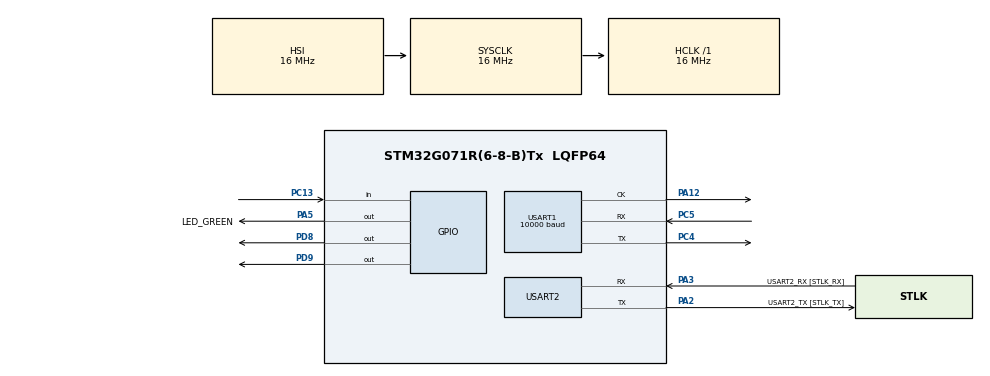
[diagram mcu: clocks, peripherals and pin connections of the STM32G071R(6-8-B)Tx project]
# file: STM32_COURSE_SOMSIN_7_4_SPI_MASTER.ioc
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Mcu.Family=STM32G0
Mcu.Name=STM32G071R(6-8-B)Tx
Mcu.Package=LQFP64
PA12\ [PA10].Mode=Synchronous
PA12\ [PA10].Signal=USART1_CK
PA13.GPIO_Label=TMS
PA13.Mode=Serial_Wire
PA13.Signal=SYS_SWDIO
PA14-BOOT0.GPIO_Label=TCK
PA14-BOOT0.Mode=Serial_Wire
PA14-BOOT0.Signal=SYS_SWCLK
PA2.GPIO_Label=USART2_TX [STLK_TX]
PA2.GPIO_PuPd=GPIO_PULLUP
PA2.Mode=Asynchronous
PA2.Signal=USART2_TX
PA3.GPIO_Label=USART2_RX [STLK_RX]
PA3.GPIO_PuPd=GPIO_PULLUP
PA3.Mode=Asynchronous
PA3.Signal=USART2_RX
PA5.GPIO_Label=LED_GREEN
PA5.GPIO_Speed=GPIO_SPEED_FREQ_HIGH
PA5.Signal=GPIO_Output
PC13.Signal=GPIO_Input
PC14-OSC32_IN\ (PC14).Mode=LSE-External-Oscillator
PC14-OSC32_IN\ (PC14).Signal=RCC_OSC32_IN
PC15-OSC32_OUT\ (PC15).Mode=LSE-External-Oscillator
PC15-OSC32_OUT\ (PC15).Signal=RCC_OSC32_OUT
PC4.Mode=Synchronous
PC4.Signal=USART1_TX
PC5.Mode=Synchronous
PC5.Signal=USART1_RX
PD8.Signal=GPIO_Output
PD9.Signal=GPIO_Output
PF0-OSC_IN\ (PF0).GPIO_Label=MCO
PF0-OSC_IN\ (PF0).Mode=HSE-External-Clock-Source
PF0-OSC_IN\ (PF0).Signal=RCC_OSC_IN
ProjectManager.HeapSize=0x200
ProjectManager.StackSize=0x400
ProjectManager.TargetToolchain=STM32CubeIDE
RCC.AHBFreq_Value=16000000
RCC.CortexFreq_Value=16000000
RCC.EXTERNAL_CLOCK_VALUE=12288000
RCC.HCLKFreq_Value=16000000
RCC.HSE_VALUE=8000000
RCC.HSI_VALUE=16000000
RCC.SYSCLKFreq_VALUE=16000000
RCC.VCOOutputFreq_Value=128000000
USART1.BaudRate=10000
USART1.CLKLastBit=USART_LASTBIT_ENABLE
USART1.VirtualMode-Synchronous=VM_SYNC
USART2.VirtualMode-Asynchronous=VM_ASYNC
VP_SYS_VS_DBSignals.Mode=DisableDeadBatterySignals
board=NUCLEO-G071RB

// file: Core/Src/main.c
/* USER CODE BEGIN Header */
/**
  ******************************************************************************
  * @file           : main.c
  * @brief          : Main program body
  ******************************************************************************
  * @attention
  *
  * Copyright (c) 2024 STMicroelectronics.
  * All rights reserved.
  *
  * This software is licensed under terms that can be found in the LICENSE file
  * in the root directory of this software component.
  * If no LICENSE file comes with this software, it is provided AS-IS.
  *
  ******************************************************************************
  */
/* USER CODE END Header */
#include "main.h"

USART_HandleTypeDef husart1;
UART_HandleTypeDef huart2;

void SystemClock_Config(void);
static void MX_GPIO_Init(void);
static void MX_USART2_UART_Init(void);
static void MX_USART1_Init(void);

int main(void)
{

  /* MCU Configuration--------------------------------------------------------*/

  /* Reset of all peripherals, Initializes the Flash interface and the Systick. */
  HAL_Init();

  /* Configure the system clock */
  SystemClock_Config();

  /* Initialize all configured peripherals */
  MX_GPIO_Init();
  MX_USART2_UART_Init();
  MX_USART1_Init();
  /* USER CODE BEGIN 2 */
  unsigned char data[10] = "A";
  HAL_GPIO_WritePin(GPIOD, GPIO_PIN_8, 0);
  HAL_GPIO_WritePin(GPIOD, GPIO_PIN_9, 0);
  /* USER CODE END 2 */

  /* Infinite loop */
  while (1)
  {

    /* USER CODE BEGIN 3 */
	  if(HAL_GPIO_ReadPin(GPIOC, GPIO_PIN_13) == 0){
		  HAL_GPIO_WritePin(LED_GREEN_GPIO_Port, LED_GREEN_Pin, 0);
		  HAL_GPIO_WritePin(GPIOD, GPIO_PIN_8, 1);
		  HAL_USART_Transmit(&husart1, data, 1, 1000);
		  HAL_GPIO_WritePin(GPIOD, GPIO_PIN_8, 0);
	  }
	  else{
		  HAL_GPIO_WritePin(LED_GREEN_GPIO_Port, LED_GREEN_Pin, 1);
		  HAL_GPIO_WritePin(GPIOD, GPIO_PIN_9, 1);
		  HAL_USART_Transmit(&husart1, data, 1, 1000);
		  HAL_GPIO_WritePin(GPIOD, GPIO_PIN_9, 0);
	  }
	  HAL_Delay(500);
	  data[0]++;
	  if(data[0] > 'Z'){
		  data[0] = 'A';
	  }
  }
  /* USER CODE END 3 */
}

void SystemClock_Config(void)
{
  RCC_OscInitTypeDef RCC_OscInitStruct = {0};
  RCC_ClkInitTypeDef RCC_ClkInitStruct = {0};

  /** Configure the main internal regulator output voltage
  */
  HAL_PWREx_ControlVoltageScaling(PWR_REGULATOR_VOLTAGE_SCALE1);

  /** Initializes the RCC Oscillators according to the specified parameters
  * in the RCC_OscInitTypeDef structure.
  */
  RCC_OscInitStruct.OscillatorType = RCC_OSCILLATORTYPE_HSI;
  RCC_OscInitStruct.HSIState = RCC_HSI_ON;
  RCC_OscInitStruct.HSIDiv = RCC_HSI_DIV1;
  RCC_OscInitStruct.HSICalibrationValue = RCC_HSICALIBRATION_DEFAULT;
  RCC_OscInitStruct.PLL.PLLState = RCC_PLL_NONE;
  if (HAL_RCC_OscConfig(&RCC_OscInitStruct) != HAL_OK)
  {
    Error_Handler();
  }

  /** Initializes the CPU, AHB and APB buses clocks
  */
  RCC_ClkInitStruct.ClockType = RCC_CLOCKTYPE_HCLK|RCC_CLOCKTYPE_SYSCLK
                              |RCC_CLOCKTYPE_PCLK1;
  RCC_ClkInitStruct.SYSCLKSource = RCC_SYSCLKSOURCE_HSI;
  RCC_ClkInitStruct.AHBCLKDivider = RCC_SYSCLK_DIV1;
  RCC_ClkInitStruct.APB1CLKDivider = RCC_HCLK_DIV1;

  if (HAL_RCC_ClockConfig(&RCC_ClkInitStruct, FLASH_LATENCY_0) != HAL_OK)
  {
    Error_Handler();
  }
}

static void MX_USART1_Init(void)
{

  husart1.Instance = USART1;
  husart1.Init.BaudRate = 10000;
  husart1.Init.WordLength = USART_WORDLENGTH_8B;
  husart1.Init.StopBits = USART_STOPBITS_1;
  husart1.Init.Parity = USART_PARITY_NONE;
  husart1.Init.Mode = USART_MODE_TX_RX;
  husart1.Init.CLKPolarity = USART_POLARITY_LOW;
  husart1.Init.CLKPhase = USART_PHASE_1EDGE;
  husart1.Init.CLKLastBit = USART_LASTBIT_ENABLE;
  husart1.Init.ClockPrescaler = USART_PRESCALER_DIV1;
  husart1.SlaveMode = USART_SLAVEMODE_DISABLE;
  if (HAL_USART_Init(&husart1) != HAL_OK)
  {
    Error_Handler();
  }
  if (HAL_USARTEx_SetTxFifoThreshold(&husart1, USART_TXFIFO_THRESHOLD_1_8) != HAL_OK)
  {
    Error_Handler();
  }
  if (HAL_USARTEx_SetRxFifoThreshold(&husart1, USART_RXFIFO_THRESHOLD_1_8) != HAL_OK)
  {
    Error_Handler();
  }
  if (HAL_USARTEx_DisableFifoMode(&husart1) != HAL_OK)
  {
    Error_Handler();
  }

}

static void MX_USART2_UART_Init(void)
{

  huart2.Instance = USART2;
  huart2.Init.BaudRate = 115200;
  huart2.Init.WordLength = UART_WORDLENGTH_8B;
  huart2.Init.StopBits = UART_STOPBITS_1;
  huart2.Init.Parity = UART_PARITY_NONE;
  huart2.Init.Mode = UART_MODE_TX_RX;
  huart2.Init.HwFlowCtl = UART_HWCONTROL_NONE;
  huart2.Init.OverSampling = UART_OVERSAMPLING_16;
  huart2.Init.OneBitSampling = UART_ONE_BIT_SAMPLE_DISABLE;
  huart2.Init.ClockPrescaler = UART_PRESCALER_DIV1;
  huart2.AdvancedInit.AdvFeatureInit = UART_ADVFEATURE_NO_INIT;
  if (HAL_UART_Init(&huart2) != HAL_OK)
  {
    Error_Handler();
  }
  if (HAL_UARTEx_SetTxFifoThreshold(&huart2, UART_TXFIFO_THRESHOLD_1_8) != HAL_OK)
  {
    Error_Handler();
  }
  if (HAL_UARTEx_SetRxFifoThreshold(&huart2, UART_RXFIFO_THRESHOLD_1_8) != HAL_OK)
  {
    Error_Handler();
  }
  if (HAL_UARTEx_DisableFifoMode(&huart2) != HAL_OK)
  {
    Error_Handler();
  }

}

static void MX_GPIO_Init(void)
{
  GPIO_InitTypeDef GPIO_InitStruct = {0};

  /* GPIO Ports Clock Enable */
  __HAL_RCC_GPIOC_CLK_ENABLE();
  __HAL_RCC_GPIOF_CLK_ENABLE();
  __HAL_RCC_GPIOA_CLK_ENABLE();
  __HAL_RCC_GPIOD_CLK_ENABLE();

  /*Configure GPIO pin Output Level */
  HAL_GPIO_WritePin(LED_GREEN_GPIO_Port, LED_GREEN_Pin, GPIO_PIN_RESET);

  /*Configure GPIO pin Output Level */
  HAL_GPIO_WritePin(GPIOD, GPIO_PIN_8|GPIO_PIN_9, GPIO_PIN_RESET);

  /*Configure GPIO pin : PC13 */
  GPIO_InitStruct.Pin = GPIO_PIN_13;
  GPIO_InitStruct.Mode = GPIO_MODE_INPUT;
  GPIO_InitStruct.Pull = GPIO_NOPULL;
  HAL_GPIO_Init(GPIOC, &GPIO_InitStruct);

  /*Configure GPIO pin : LED_GREEN_Pin */
  GPIO_InitStruct.Pin = LED_GREEN_Pin;
  GPIO_InitStruct.Mode = GPIO_MODE_OUTPUT_PP;
  GPIO_InitStruct.Pull = GPIO_NOPULL;
  GPIO_InitStruct.Speed = GPIO_SPEED_FREQ_HIGH;
  HAL_GPIO_Init(LED_GREEN_GPIO_Port, &GPIO_InitStruct);

  /*Configure GPIO pins : PD8 PD9 */
  GPIO_InitStruct.Pin = GPIO_PIN_8|GPIO_PIN_9;
  GPIO_InitStruct.Mode = GPIO_MODE_OUTPUT_PP;
  GPIO_InitStruct.Pull = GPIO_NOPULL;
  GPIO_InitStruct.Speed = GPIO_SPEED_FREQ_LOW;
  HAL_GPIO_Init(GPIOD, &GPIO_InitStruct);

}

void Error_Handler(void)
{
  __disable_irq();
  while (1)
  {
  }
}
